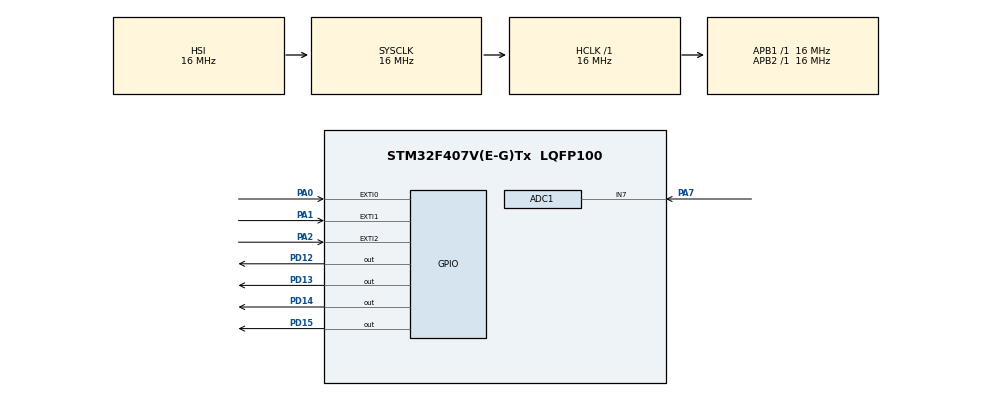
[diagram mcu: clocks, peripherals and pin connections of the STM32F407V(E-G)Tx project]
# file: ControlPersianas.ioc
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ADC1.Channel-0\#ChannelRegularConversion=ADC_CHANNEL_7
ADC1.NbrOfConversionFlag=1
ADC1.Rank-0\#ChannelRegularConversion=1
ADC1.SamplingTime-0\#ChannelRegularConversion=ADC_SAMPLETIME_3CYCLES
ADC1.master=1
Mcu.Family=STM32F4
Mcu.Name=STM32F407V(E-G)Tx
Mcu.Package=LQFP100
NVIC.EXTI0_IRQn=true\:0\:0\:false\:false\:true\:true\:true
NVIC.EXTI1_IRQn=true\:0\:0\:false\:false\:true\:true\:true
NVIC.EXTI2_IRQn=true\:0\:0\:false\:false\:true\:true\:true
NVIC.PriorityGroup=NVIC_PRIORITYGROUP_4
NVIC.TIM2_IRQn=true\:0\:0\:false\:false\:true\:true\:true
PA0-WKUP.Signal=GPXTI0
PA1.Signal=GPXTI1
PA2.Signal=GPXTI2
PA7.Signal=ADCx_IN7
PD12.Signal=GPIO_Output
PD13.Signal=GPIO_Output
PD14.Signal=GPIO_Output
PD15.Signal=GPIO_Output
ProjectManager.HeapSize=0x200
ProjectManager.StackSize=0x400
ProjectManager.TargetToolchain=MDK-ARM V5.27
RCC.AHBFreq_Value=16000000
RCC.APB1Freq_Value=16000000
RCC.APB2Freq_Value=16000000
RCC.CortexFreq_Value=16000000
RCC.HSE_VALUE=25000000
RCC.HSI_VALUE=16000000
RCC.LSE_VALUE=32768
RCC.SYSCLKFreq_VALUE=16000000
RCC.VCOOutputFreq_Value=192000000
SH.ADCx_IN7.0=ADC1_IN7,IN7
VP_TIM2_VS_ClockSourceINT.Mode=Internal
board=custom

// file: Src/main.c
/* USER CODE BEGIN Header */
/**
  ******************************************************************************
  * @file           : main.c
  * @brief          : Main program body
  ******************************************************************************
  * @attention
  *
  * <h2><center>&copy; Copyright (c) 2019 STMicroelectronics.
  * All rights reserved.</center></h2>
  *
  * This software component is licensed by ST under BSD 3-Clause license,
  * the "License"; You may not use this file except in compliance with the
  * License. You may obtain a copy of the License at:
  *                        opensource.org/licenses/BSD-3-Clause
  *
  ******************************************************************************
  */
/* USER CODE END Header */

#include "main.h"
#include "stm32f4xx_hal.h"
#include <stdlib.h>

/* USER CODE BEGIN PD */
#define UMBRAL_LUMINOSIDAD (600)
/* USER CODE END PD */

ADC_HandleTypeDef hadc1;
TIM_HandleTypeDef htim2;

/* USER CODE BEGIN PV */
volatile int finTemp = 1;
volatile int subir = 0, bajar = 0;
int luminosidad;
volatile int manual = 0;
/* USER CODE END PV */

void SystemClock_Config(void);
static void MX_GPIO_Init(void);
static void MX_ADC1_Init(void);
static void MX_TIM2_Init(void);
/* USER CODE BEGIN PFP */
void subiendo();
void bajando();
void subidof();
void bajadof();
void subir_persiana();
void bajar_persiana();
void InitializeTimer();
/* USER CODE END PFP */

/* USER CODE BEGIN 0 */
void HAL_TIM_PeriodElapsedCallback(TIM_HandleTypeDef *htim)
{
  /* Prevent unused argument(s) compilation warning */
  UNUSED(htim);
  /* NOTE : This function Should not be modified, when the callback is needed,
            the __HAL_TIM_PeriodElapsedCallback could be implemented in the user file
   */
	//HAL_GPIO_TogglePin(GPIOD,GPIO_PIN_12);
	finTemp=1;
}

void HAL_GPIO_EXTI_Callback(uint16_t GPIO_Pin)		//gestion de las interrupciones
{
	if (GPIO_Pin & GPIO_PIN_0)		//selecciono el boton de usuario BOTON AZUL
	{
		if (!subir)
		{
		  bajar  = 1;
		  manual = 1;
		}
	}
	else if(GPIO_Pin & GPIO_PIN_1)		//gestiono el boton externo BOTON PROTO
	{
		if (!bajar)
		{
		  subir  = 1;
		  manual = 1;
		}
	}
	else if(GPIO_Pin & GPIO_PIN_2)		//gestiono el boton externo BOTON ROJO
  {
		if (!bajar && !subir)
		{
			bajar  = 0;
		  subir  = 0;
		  manual = 0;
		}
	}
}

void subiendo(){
	HAL_GPIO_WritePin(GPIOD,GPIO_PIN_15, GPIO_PIN_RESET);
	HAL_Delay(500);
	HAL_GPIO_WritePin(GPIOD, GPIO_PIN_14, GPIO_PIN_RESET);
	HAL_Delay(500);
	HAL_GPIO_WritePin(GPIOD, GPIO_PIN_13, GPIO_PIN_RESET);
	HAL_Delay(500);
}
void subidof(){
	HAL_GPIO_WritePin(GPIOD, GPIO_PIN_12, GPIO_PIN_RESET);
	HAL_Delay(500);
}
void bajando(){
	HAL_GPIO_WritePin(GPIOD, GPIO_PIN_12, GPIO_PIN_SET);
	HAL_Delay(500);
	HAL_GPIO_WritePin(GPIOD, GPIO_PIN_13, GPIO_PIN_SET);
	HAL_Delay(500);
	HAL_GPIO_WritePin(GPIOD, GPIO_PIN_14, GPIO_PIN_SET);
	HAL_Delay(500);
}

void bajadof(){
  HAL_GPIO_WritePin(GPIOD, GPIO_PIN_15, GPIO_PIN_SET);
	HAL_Delay(500);
}
void InitializeTimer()
{
					HAL_TIM_Base_Init(&htim2);
					HAL_TIM_Base_Start(&htim2);
}

void subir_persiana()
{
	// Apagar LEDs rápidos"
	subiendo();

	// Apagar LEDs temporizado
	__HAL_TIM_SetCounter(&htim2, 0);
	while (__HAL_TIM_GET_COUNTER(&htim2) < 2500);  // Esperar
	subidof();  // Apagar último LED
	subir = 0;
}

void bajar_persiana()
{
	// Apagar LEDs rápidos"
	bajando();

	// Apagar LEDs temporizado
	__HAL_TIM_SetCounter(&htim2, 0);
	while (__HAL_TIM_GET_COUNTER(&htim2) < 2500);  // Esperar
	bajadof();  // Apagar último LED
	bajar = 0;
}

/* USER CODE END 0 */

int main(void)
{

  /* MCU Configuration--------------------------------------------------------*/

  /* Reset of all peripherals, Initializes the Flash interface and the Systick. */
  HAL_Init();

  /* USER CODE BEGIN Init */
  //HAL_NVIC_DisableIRQ(EXTI0_IRQn);
  /* USER CODE END Init */

  /* Configure the system clock */
  SystemClock_Config();

  /* Initialize all configured peripherals */
  MX_GPIO_Init();
  MX_ADC1_Init();
  MX_TIM2_Init();
	InitializeTimer();
  /* USER CODE BEGIN 2 */
	//HAL_NVIC_EnableIRQ(EXTI0_IRQn);
  /* USER CODE END 2 */

  /* Infinite loop */
  /* USER CODE BEGIN WHILE */
  bajar_persiana();
	subir_persiana();
  while (1)
  {
		HAL_NVIC_DisableIRQ(EXTI0_IRQn);
		HAL_NVIC_EnableIRQ(EXTI0_IRQn);
		if (!manual)  //Automatico
		{
			// Muestrear luminosidad
			HAL_ADC_Start(&hadc1);
			if (HAL_ADC_PollForConversion(&hadc1, 1000) == HAL_OK)
				luminosidad=HAL_ADC_GetValue(&hadc1);
			HAL_ADC_Stop(&hadc1);

		  // Determinar subir o bajar
      if (luminosidad > UMBRAL_LUMINOSIDAD)
		  {
			  subir_persiana();
		  }
		  else
		  {
  		  bajar_persiana();
		  }
		}
    else  //Manual
	  {
		  if (subir)
			  subir_persiana();
		  if (bajar)
			  bajar_persiana();
		}
  }
  /* USER CODE END 3 */
}

void SystemClock_Config(void)
{
  RCC_OscInitTypeDef RCC_OscInitStruct = {0};
  RCC_ClkInitTypeDef RCC_ClkInitStruct = {0};

  /** Configure the main internal regulator output voltage
  */
  __HAL_RCC_PWR_CLK_ENABLE();
  __HAL_PWR_VOLTAGESCALING_CONFIG(PWR_REGULATOR_VOLTAGE_SCALE1);
  /** Initializes the CPU, AHB and APB busses clocks
  */
  RCC_OscInitStruct.OscillatorType = RCC_OSCILLATORTYPE_HSI;
  RCC_OscInitStruct.HSIState = RCC_HSI_ON;
  RCC_OscInitStruct.HSICalibrationValue = RCC_HSICALIBRATION_DEFAULT;
  RCC_OscInitStruct.PLL.PLLState = RCC_PLL_NONE;
  if (HAL_RCC_OscConfig(&RCC_OscInitStruct) != HAL_OK)
  {
    Error_Handler();
  }
  /** Initializes the CPU, AHB and APB busses clocks
  */
  RCC_ClkInitStruct.ClockType = RCC_CLOCKTYPE_HCLK|RCC_CLOCKTYPE_SYSCLK
                              |RCC_CLOCKTYPE_PCLK1|RCC_CLOCKTYPE_PCLK2;
  RCC_ClkInitStruct.SYSCLKSource = RCC_SYSCLKSOURCE_HSI;
  RCC_ClkInitStruct.AHBCLKDivider = RCC_SYSCLK_DIV1;
  RCC_ClkInitStruct.APB1CLKDivider = RCC_HCLK_DIV1;
  RCC_ClkInitStruct.APB2CLKDivider = RCC_HCLK_DIV1;

  if (HAL_RCC_ClockConfig(&RCC_ClkInitStruct, FLASH_LATENCY_0) != HAL_OK)
  {
    Error_Handler();
  }
	HAL_SYSTICK_Config(HAL_RCC_GetHCLKFreq()/1000);
	HAL_SYSTICK_CLKSourceConfig(SYSTICK_CLKSOURCE_HCLK);

  /* SysTick_IRQn interrupt configuration */
  HAL_NVIC_SetPriority(SysTick_IRQn, 0, 0);
}

static void MX_ADC1_Init(void)
{

  ADC_ChannelConfTypeDef sConfig = {0};

  /** Configure the global features of the ADC (Clock, Resolution, Data Alignment and number of conversion)
  */
  hadc1.Instance = ADC1;
  hadc1.Init.ClockPrescaler = ADC_CLOCK_SYNC_PCLK_DIV2;
  hadc1.Init.Resolution = ADC_RESOLUTION_12B;
  hadc1.Init.ScanConvMode = DISABLE;
  hadc1.Init.ContinuousConvMode = DISABLE;
  hadc1.Init.DiscontinuousConvMode = DISABLE;
  hadc1.Init.ExternalTrigConvEdge = ADC_EXTERNALTRIGCONVEDGE_NONE;
  hadc1.Init.ExternalTrigConv = ADC_SOFTWARE_START;
  hadc1.Init.DataAlign = ADC_DATAALIGN_RIGHT;
  hadc1.Init.NbrOfConversion = 1;
  hadc1.Init.DMAContinuousRequests = DISABLE;
  hadc1.Init.EOCSelection = ADC_EOC_SINGLE_CONV;
  if (HAL_ADC_Init(&hadc1) != HAL_OK)
  {
    Error_Handler();
  }
  /** Configure for the selected ADC regular channel its corresponding rank in the sequencer and its sample time.
  */
  sConfig.Channel = ADC_CHANNEL_7;
  sConfig.Rank = 1;
  sConfig.SamplingTime = ADC_SAMPLETIME_3CYCLES;
  if (HAL_ADC_ConfigChannel(&hadc1, &sConfig) != HAL_OK)
  {
    Error_Handler();
  }

}

static void MX_TIM2_Init(void)
{

  TIM_ClockConfigTypeDef sClockSourceConfig = {0};
  TIM_MasterConfigTypeDef sMasterConfig = {0};

  htim2.Instance = TIM2;
  htim2.Init.Prescaler = 16000;
  htim2.Init.CounterMode = TIM_COUNTERMODE_UP;
  htim2.Init.Period = 20000;
  htim2.Init.ClockDivision = TIM_CLOCKDIVISION_DIV1;
  htim2.Init.AutoReloadPreload = TIM_AUTORELOAD_PRELOAD_DISABLE;
  if (HAL_TIM_Base_Init(&htim2) != HAL_OK)
  {
    Error_Handler();
  }
  sClockSourceConfig.ClockSource = TIM_CLOCKSOURCE_INTERNAL;
  if (HAL_TIM_ConfigClockSource(&htim2, &sClockSourceConfig) != HAL_OK)
  {
    Error_Handler();
  }
  sMasterConfig.MasterOutputTrigger = TIM_TRGO_RESET;
  sMasterConfig.MasterSlaveMode = TIM_MASTERSLAVEMODE_DISABLE;
  if (HAL_TIMEx_MasterConfigSynchronization(&htim2, &sMasterConfig) != HAL_OK)
  {
    Error_Handler();
  }

}

static void MX_GPIO_Init(void)
{
  GPIO_InitTypeDef GPIO_InitStruct = {0};

  /* GPIO Ports Clock Enable */
  __HAL_RCC_GPIOA_CLK_ENABLE();
  __HAL_RCC_GPIOD_CLK_ENABLE();

  /*Configure GPIO pin Output Level */
  HAL_GPIO_WritePin(GPIOD, GPIO_PIN_12|GPIO_PIN_13|GPIO_PIN_14|GPIO_PIN_15, GPIO_PIN_RESET);

  /*Configure GPIO pins : PA0 PA1 PA2 */
  GPIO_InitStruct.Pin = GPIO_PIN_0|GPIO_PIN_1|GPIO_PIN_2;
  GPIO_InitStruct.Mode = GPIO_MODE_IT_RISING;
  GPIO_InitStruct.Pull = GPIO_NOPULL;
  HAL_GPIO_Init(GPIOA, &GPIO_InitStruct);

  /*Configure GPIO pins : PD12 PD13 PD14 PD15 */
  GPIO_InitStruct.Pin = GPIO_PIN_12|GPIO_PIN_13|GPIO_PIN_14|GPIO_PIN_15;
  GPIO_InitStruct.Mode = GPIO_MODE_OUTPUT_PP;
  GPIO_InitStruct.Pull = GPIO_NOPULL;
  GPIO_InitStruct.Speed = GPIO_SPEED_FREQ_LOW;
  HAL_GPIO_Init(GPIOD, &GPIO_InitStruct);

  /* EXTI interrupt init*/
  HAL_NVIC_SetPriority(EXTI0_IRQn, 0, 0);
  HAL_NVIC_EnableIRQ(EXTI0_IRQn);

  HAL_NVIC_SetPriority(EXTI1_IRQn, 0, 0);
  HAL_NVIC_EnableIRQ(EXTI1_IRQn);

  HAL_NVIC_SetPriority(EXTI2_IRQn, 0, 0);
  HAL_NVIC_EnableIRQ(EXTI2_IRQn);

}

void Error_Handler(void)
{
}

/************************ (C) COPYRIGHT STMicroelectronics *****END OF FILE****/
